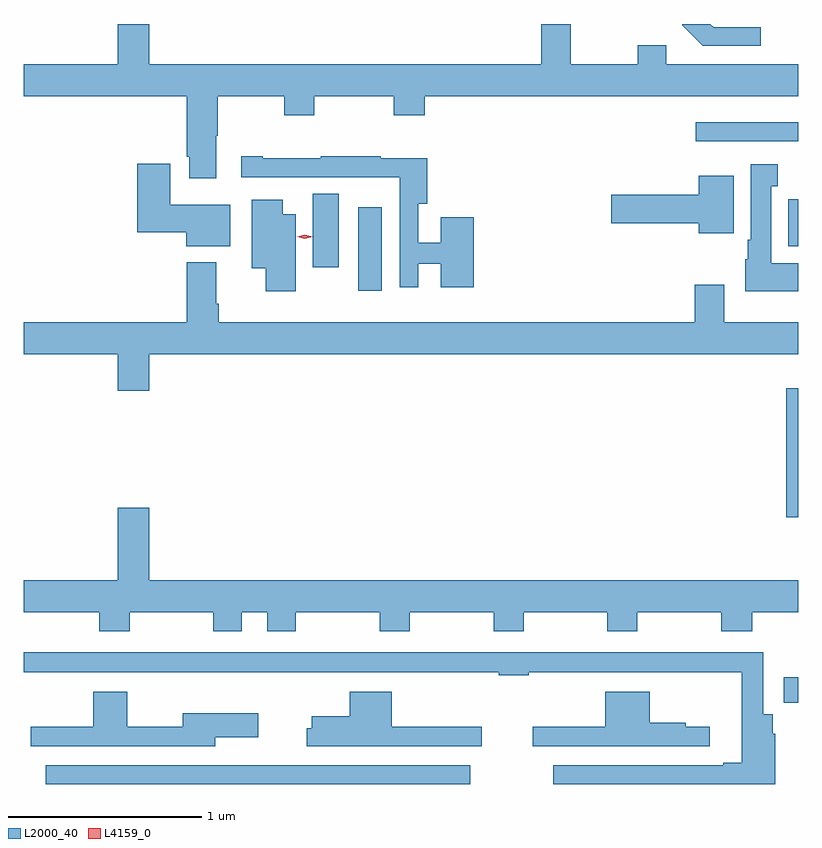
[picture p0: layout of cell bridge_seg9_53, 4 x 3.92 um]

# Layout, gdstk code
import gdstk
lib = gdstk.Library(unit=1e-6, precision=1e-09)
def R(c, l, rs):  # rectangles x0, y0, x1, y1
    for r in rs: c.add(gdstk.rectangle(r[:2], r[2:], *l))
def P(c, l, *ps):  # polygons
    for p in ps: c.add(gdstk.Polygon(p, *l))
L2000_40 = (2000, 40)
L4159_0 = (4159, 0)

bridge_seg9_53 = lib.new_cell('bridge_seg9_53')
R(bridge_seg9_53, L2000_40, [(1103.509,1182.632,1103.586,1182.765), (1103.522,1183.59,1103.586,1184.257), (1101.314,1184.76,1101.436,1185.19), (1101.08,1184.88,1101.214,1185.26), (1103.534,1184.99,1103.586,1185.232), (1103.055,1185.531,1103.586,1185.628)])
P(bridge_seg9_53, L2000_40, [(1103.392,1186.119),(1103.148,1186.119),(1103.131,1186.136),(1102.986,1186.136),(1102.986,1186.129),(1103.091,1186.023),(1103.392,1186.023)],
  [(1100.581,1185.56),(1100.589,1185.56),(1100.589,1185.764),(1100.932,1185.764),(1100.932,1185.665),(1101.087,1185.665),(1101.087,1185.764),(1101.496,1185.764),(1101.496,1185.665),(1101.656,1185.665),(1101.656,1185.764),(1103.586,1185.764),(1103.586,1185.928),(1102.903,1185.928),(1102.903,1186.027),(1102.756,1186.027),(1102.756,1185.928),(1102.411,1185.928),(1102.411,1186.136),(1102.259,1186.136),(1102.259,1185.928),(1100.236,1185.928),(1100.236,1186.136),(1100.072,1186.136),(1100.072,1185.928),(1099.586,1185.928),(1099.586,1185.764),(1100.429,1185.764),(1100.429,1185.451),(1100.441,1185.451),(1100.441,1185.339),(1100.581,1185.339)],
  [(1101.624,1184.898),(1101.74,1184.898),(1101.74,1184.778),(1101.911,1184.778),(1101.911,1185.139),(1101.74,1185.139),(1101.74,1185.008),(1101.624,1185.008),(1101.624,1185.209),(1101.671,1185.209),(1101.671,1185.444),(1101.431,1185.444),(1101.431,1185.454),(1101.121,1185.454),(1101.121,1185.444),(1100.821,1185.444),(1100.821,1185.454),(1100.709,1185.454),(1100.709,1185.345),(1101.318,1185.345),(1101.318,1185.344),(1101.528,1185.344),(1101.528,1184.778),(1101.624,1184.778)],
  [(1100.653,1185.202),(1100.344,1185.202),(1100.344,1185.415),(1100.174,1185.415),(1100.174,1185.062),(1100.426,1185.062),(1100.426,1184.99),(1100.653,1184.99)],
  [(1103.586,1184.902),(1103.446,1184.902),(1103.446,1185.299),(1103.479,1185.299),(1103.479,1185.412),(1103.339,1185.412),(1103.339,1185.022),(1103.324,1185.022),(1103.324,1184.922),(1103.312,1184.922),(1103.312,1184.756),(1103.586,1184.756)],
  [(1103.251,1185.352),(1103.072,1185.352),(1103.072,1185.254),(1102.62,1185.254),(1102.62,1185.107),(1103.072,1185.107),(1103.072,1185.056),(1103.251,1185.056)],
  [(1100.992,1185.154),(1100.923,1185.154),(1100.923,1185.229),(1100.765,1185.229),(1100.765,1184.876),(1100.837,1184.876),(1100.837,1184.757),(1100.992,1184.757)],
  [(1100.236,1184.432),(1103.586,1184.432),(1103.586,1184.596),(1103.203,1184.596),(1103.203,1184.791),(1103.051,1184.791),(1103.051,1184.596),(1100.594,1184.596),(1100.594,1184.692),(1100.581,1184.692),(1100.581,1184.905),(1100.429,1184.905),(1100.429,1184.596),(1099.586,1184.596),(1099.586,1184.432),(1100.072,1184.432),(1100.072,1184.244),(1100.236,1184.244)],
  [(1100.133,1183.1),(1100.566,1183.1),(1100.566,1183.001),(1100.713,1183.001),(1100.713,1183.1),(1100.843,1183.1),(1100.843,1183.001),(1100.991,1183.001),(1100.991,1183.1),(1101.424,1183.1),(1101.424,1183.001),(1101.579,1183.001),(1101.579,1183.1),(1102.012,1183.1),(1102.012,1183.001),(1102.167,1183.001),(1102.167,1183.1),(1102.6,1183.1),(1102.6,1183.001),(1102.755,1183.001),(1102.755,1183.1),(1103.188,1183.1),(1103.188,1183.001),(1103.348,1183.001),(1103.348,1183.1),(1103.586,1183.1),(1103.586,1183.264),(1100.236,1183.264),(1100.236,1183.639),(1100.072,1183.639),(1100.072,1183.264),(1099.586,1183.264),(1099.586,1183.1),(1099.978,1183.1),(1099.978,1183.001),(1100.133,1183.001)],
  [(1103.465,1182.473),(1103.453,1182.473),(1103.453,1182.573),(1103.403,1182.573),(1103.403,1182.892),(1099.586,1182.892),(1099.586,1182.789),(1099.85,1182.789),(1099.85,1182.791),(1101.583,1182.791),(1101.583,1182.789),(1102.038,1182.789),(1102.038,1182.774),(1102.193,1182.774),(1102.193,1182.789),(1102.493,1182.789),(1102.493,1182.791),(1102.915,1182.791),(1102.915,1182.789),(1103.294,1182.789),(1103.294,1182.322),(1103.198,1182.322),(1103.198,1182.309),(1102.32,1182.309),(1102.32,1182.213),(1103.465,1182.213)],
  [(1103.128,1182.509),(1103.004,1182.509),(1103.004,1182.529),(1102.819,1182.529),(1102.819,1182.688),(1102.589,1182.688),(1102.589,1182.509),(1102.215,1182.509),(1102.215,1182.408),(1102.693,1182.408),(1102.693,1182.407),(1103.128,1182.407)],
  [(1100.575,1182.455),(1100.797,1182.455),(1100.797,1182.577),(1100.408,1182.577),(1100.408,1182.509),(1100.122,1182.509),(1100.122,1182.688),(1099.946,1182.688),(1099.946,1182.509),(1099.623,1182.509),(1099.623,1182.408),(1100.575,1182.408)],
  [(1101.383,1182.408),(1101.952,1182.408),(1101.952,1182.509),(1101.487,1182.509),(1101.487,1182.688),(1101.269,1182.688),(1101.269,1182.562),(1101.074,1182.562),(1101.074,1182.501),(1101.047,1182.501),(1101.047,1182.407),(1101.383,1182.407)],
  [(1101.892,1182.309),(1100.951,1182.309),(1100.951,1182.31),(1100.671,1182.31),(1100.671,1182.309),(1099.701,1182.309),(1099.701,1182.213),(1101.892,1182.213)])
P(bridge_seg9_53, L4159_0, [(1101.038,1185.028),(1100.998,1185.038),(1100.998,1185.038),(1100.998,1185.038),(1101.038,1185.048),(1101.078,1185.038),(1101.078,1185.038),(1101.078,1185.038)])

lib.write_gds('bridge_seg9_53.gds')
